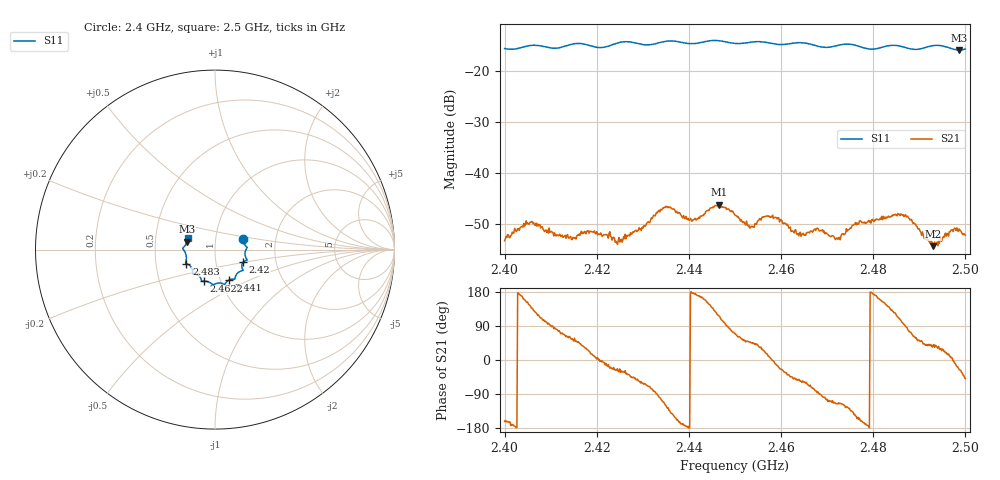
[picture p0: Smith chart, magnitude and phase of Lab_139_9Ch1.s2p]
# Hz S RI R 50
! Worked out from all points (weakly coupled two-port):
!   601 points, 2.4 GHz to 2.5 GHz, reference 50 ohm
!   highest |S21| = -46.30 dB at 2.4465 GHz (marker M1); lowest = -54.5 dB at 2.493 GHz (marker M2)
!   lowest |S11| = -15.8 dB at 2.4987 GHz (marker M3), VSWR 1.39, Z = 36.4 + j3.31 ohm
!   |S11| at or under -10 dB: start of sweep to end of sweep
!   S12 and S22 are empty: the file has one direction only
!   S11 on the Smith chart (normalised r, x): 2.4 GHz: 1.36, +0.17; 2.42 GHz: 1.36, -0.20; 2.441 GHz: 1.09, -0.39; 2.4622 GHz: 0.83, -0.30; 2.483 GHz: 0.72, -0.12; 2.5 GHz: 0.73, +0.09
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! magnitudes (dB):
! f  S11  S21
! 2.4 GHz  -15.5  -53.4
! 2.4055 GHz  -14.9  -49.8
! 2.4112 GHz  -15.5  -52.5
! 2.4167 GHz  -14.6  -51.5
! 2.42 GHz  -15.3  -51.6
! 2.425 GHz  -14.3  -53.7
! 2.4333 GHz  -14.4  -47.6
! 2.441 GHz  -14.6  -49.3
! 2.4465 GHz  -14.0  -46.3
! 2.45 GHz  -14.5  -48.3
! 2.4537 GHz  -14.3  -50.6
! 2.4577 GHz  -14.5  -48.8
! 2.4622 GHz  -14.5  -51.6
! 2.4667 GHz  -14.7  -51.5
! 2.4723 GHz  -14.9  -53.1
! 2.476 GHz  -14.9  -50.1
! 2.483 GHz  -15.0  -48.9
! 2.4833 GHz  -15.0  -48.5
! 2.4873 GHz  -15.4  -48.6
! 2.493 GHz  -14.9  -54.5
! 2.4987 GHz  -15.8  -51.1
! 2.5 GHz  -15.6  -52.3
